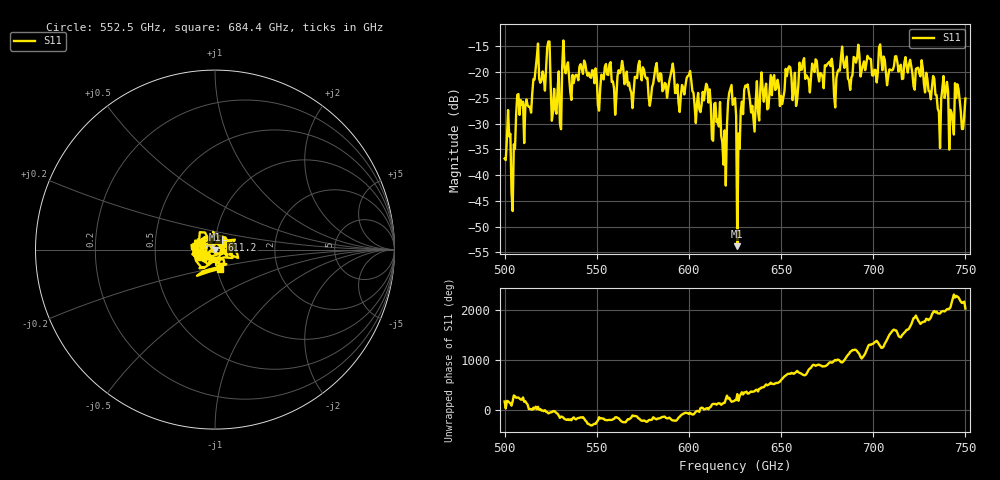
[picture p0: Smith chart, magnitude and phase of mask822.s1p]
!Created with skrf (http://scikit-rf.org).
# GHz S MA R 50.0
!freq magS11 angS11
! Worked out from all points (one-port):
!   401 points, 500 GHz to 750 GHz, reference 50 ohm
!   lowest |S11| = -53.8 dB at 626.2 GHz (marker M1), VSWR 1.00, Z = 50.2 - j0.124 ohm
!   |S11| at or under -10 dB: start of sweep to end of sweep
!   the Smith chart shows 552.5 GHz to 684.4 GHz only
!   S11 on the Smith chart (normalised r, x): 552.5 GHz: 0.84, -0.06; 611.2 GHz: 1.07, +0.12; 684.4 GHz: 1.03, -0.22
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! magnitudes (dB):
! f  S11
! 500 GHz  -36.8
! 501.9 GHz  -27.4
! 504.4 GHz  -47.0
! 507.5 GHz  -24.2
! 513.8 GHz  -26.7
! 516.9 GHz  -19.3
! 523.8 GHz  -14.0
! 526.9 GHz  -23.2
! 531.2 GHz  -19.0
! 552.5 GHz  -20.5
! 562.5 GHz  -20.2
! 593.8 GHz  -22.4
! 611.2 GHz  -23.3
! 618.8 GHz  -37.9
! 623.8 GHz  -26.3
! 625 GHz  -25.0
! 626.2 GHz  -53.8
! 631.2 GHz  -22.9
! 635 GHz  -28.9
! 656.2 GHz  -25.4
! 684.4 GHz  -19.2
! 687.5 GHz  -23.4
! 718.8 GHz  -20.1
! 735.6 GHz  -27.7
! 739.4 GHz  -23.8
! 742.5 GHz  -27.8
! 745.6 GHz  -22.4
! 750 GHz  -25.1
